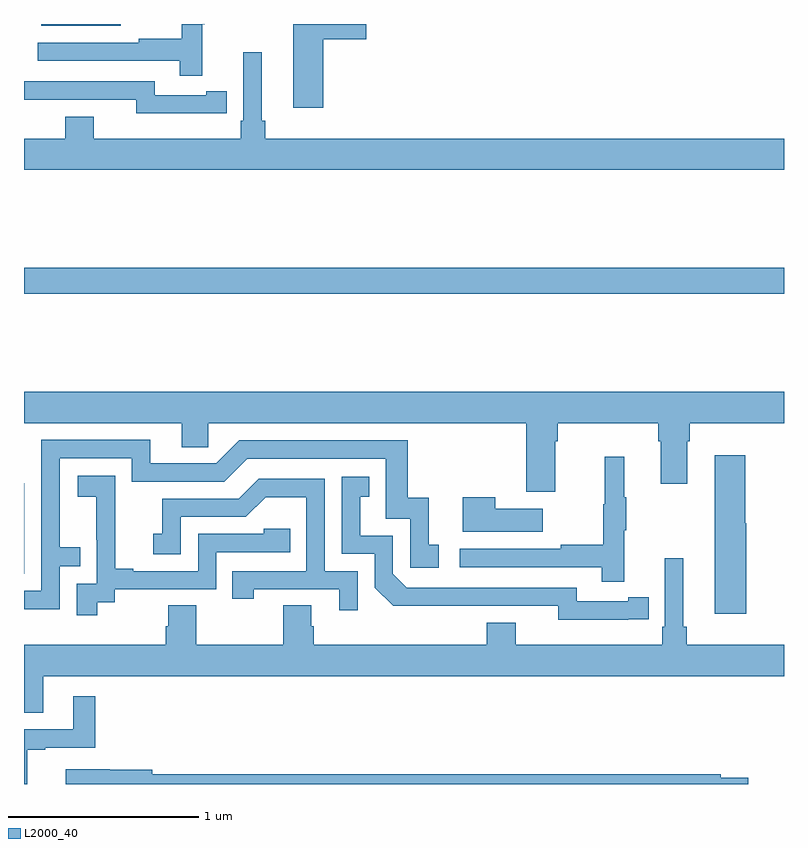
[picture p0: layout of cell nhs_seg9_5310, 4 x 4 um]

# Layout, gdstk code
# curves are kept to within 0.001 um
import gdstk
lib = gdstk.Library(unit=1e-6, precision=1e-09)
def R(c, l, rs):  # rectangles x0, y0, x1, y1
    for r in rs: c.add(gdstk.rectangle(r[:2], r[2:], *l))
def P(c, l, *ps):  # polygons
    for p in ps: c.add(gdstk.Polygon(p, *l))
L2000_40 = (2000, 40)

nhs_seg9_5310 = lib.new_cell('nhs_seg9_5310')
R(nhs_seg9_5310, L2000_40, [(419,1215.606,419.001,1216.083), (419,1217.08,423,1217.216), (419.09,1218.491,419.509,1218.5)])
P(nhs_seg9_5310, L2000_40, [(420.575,1218.419),(420.802,1218.419),(420.802,1218.5),(420.416,1218.5),(420.416,1218.06),(420.575,1218.06)],
  [(419.939,1218.499),(419.95,1218.499),(419.95,1218.5),(419.829,1218.5),(419.829,1218.422),(419.605,1218.422),(419.605,1218.402),(419.073,1218.402),(419.073,1218.306),(419.821,1218.306),(419.821,1218.228),(419.939,1218.228)],
  [(419.216,1218.013),(419.216,1217.896),(419,1217.896),(419,1217.732),(423,1217.732),(423,1217.896),(420.269,1217.896),(420.269,1217.992),(420.25,1217.992),(420.25,1218.352),(420.153,1218.352),(420.153,1217.992),(420.14,1217.992),(420.14,1217.896),(419.368,1217.896),(419.368,1218.013)],
  [(419.96,1218.03),(420.068,1218.03),(420.068,1218.146),(419.96,1218.146),(419.96,1218.126),(419.688,1218.126),(419.688,1218.198),(419,1218.198),(419,1218.101),(419.132,1218.101),(419.132,1218.102),(419.592,1218.102),(419.592,1218.029),(419.96,1218.029)],
  [(421.795,1216.304),(421.808,1216.304),(421.808,1216.4),(422.339,1216.4),(422.339,1216.304),(422.351,1216.304),(422.351,1216.08),(422.491,1216.08),(422.491,1216.304),(422.504,1216.304),(422.504,1216.4),(423,1216.4),(423,1216.564),(419,1216.564),(419,1216.4),(419.831,1216.4),(419.831,1216.273),(419.97,1216.273),(419.97,1216.4),(421.643,1216.4),(421.643,1216.038),(421.795,1216.038)],
  [(419.187,1215.645),(419.297,1215.645),(419.297,1215.746),(419.187,1215.746),(419.187,1216.215),(419.568,1216.215),(419.568,1216.092),(420.054,1216.092),(420.174,1216.212),(420.903,1216.212),(420.903,1215.897),(421.032,1215.897),(421.032,1215.639),(421.183,1215.639),(421.183,1215.759),(421.13,1215.759),(421.13,1216.006),(421.019,1216.006),(421.019,1216.308),(420.132,1216.308),(420.012,1216.188),(419.665,1216.188),(419.665,1216.311),(419.091,1216.311),(419.091,1215.516),(419,1215.516),(419,1215.42),(419.187,1215.42)],
  [(422.8,1215.873),(422.795,1215.873),(422.795,1216.231),(422.636,1216.231),(422.636,1215.396),(422.8,1215.396)],
  [(422.159,1215.835),(422.17,1215.835),(422.17,1216.009),(422.159,1216.009),(422.159,1216.222),(422.056,1216.222),(422.056,1215.972),(422.049,1215.972),(422.049,1215.758),(421.825,1215.758),(421.825,1215.738),(421.293,1215.738),(421.293,1215.642),(422.041,1215.642),(422.041,1215.564),(422.159,1215.564)],
  [(419.386,1215.457),(419.478,1215.457),(419.478,1215.525),(420.012,1215.525),(420.012,1215.72),(420.401,1215.72),(420.401,1215.843),(420.261,1215.843),(420.261,1215.816),(419.916,1215.816),(419.916,1215.621),(419.575,1215.621),(419.575,1215.634),(419.48,1215.634),(419.48,1215.917),(419.481,1215.917),(419.481,1216.123),(419.283,1216.123),(419.283,1216.013),(419.381,1216.013),(419.381,1215.785),(419.382,1215.785),(419.382,1215.555),(419.277,1215.555),(419.277,1215.387),(419.386,1215.387)],
  [(422.18,1215.366),(422.288,1215.366),(422.288,1215.482),(422.18,1215.482),(422.18,1215.462),(421.908,1215.462),(421.908,1215.534),(421.014,1215.534),(420.942,1215.606),(420.942,1215.807),(420.769,1215.807),(420.769,1216.011),(420.818,1216.011),(420.818,1216.117),(420.672,1216.117),(420.672,1215.711),(420.846,1215.711),(420.846,1215.534),(420.944,1215.437),(421.812,1215.438),(421.812,1215.365)],
  [(420.756,1215.621),(420.582,1215.621),(420.582,1216.107),(420.236,1216.107),(420.131,1216.002),(419.728,1216.002),(419.728,1215.817),(419.679,1215.817),(419.679,1215.708),(419.826,1215.708),(419.826,1215.906),(420.168,1215.906),(420.272,1216.01),(420.486,1216.01),(420.486,1215.621),(420.097,1215.621),(420.097,1215.474),(420.208,1215.474),(420.208,1215.525),(420.659,1215.525),(420.659,1215.414),(420.756,1215.414)],
  [(421.729,1215.949),(421.481,1215.949),(421.481,1216.009),(421.31,1216.009),(421.31,1215.827),(421.729,1215.827)],
  [(419.101,1215.068),(423,1215.068),(423,1215.232),(422.489,1215.232),(422.489,1215.328),(422.47,1215.328),(422.47,1215.688),(422.373,1215.688),(422.373,1215.328),(422.36,1215.328),(422.36,1215.232),(421.588,1215.232),(421.588,1215.349),(421.436,1215.349),(421.436,1215.232),(420.524,1215.232),(420.524,1215.33),(420.511,1215.33),(420.511,1215.44),(420.364,1215.44),(420.364,1215.232),(419.907,1215.232),(419.907,1215.44),(419.759,1215.44),(419.759,1215.33),(419.747,1215.33),(419.747,1215.232),(419,1215.232),(419,1214.874),(419.101,1214.874)],
  [(419.017,1214.679),(419.113,1214.679),(419.113,1214.691),(419.375,1214.691),(419.375,1214.962),(419.258,1214.962),(419.258,1214.787),(419,1214.787),(419,1214.5),(419.017,1214.5)],
  [(422.813,1214.532),(422.666,1214.532),(422.666,1214.552),(419.674,1214.552),(419.674,1214.576),(419.451,1214.576),(419.451,1214.578),(419.219,1214.578),(419.219,1214.5),(422.813,1214.5)])

lib.write_gds('nhs_seg9_5310.gds')
